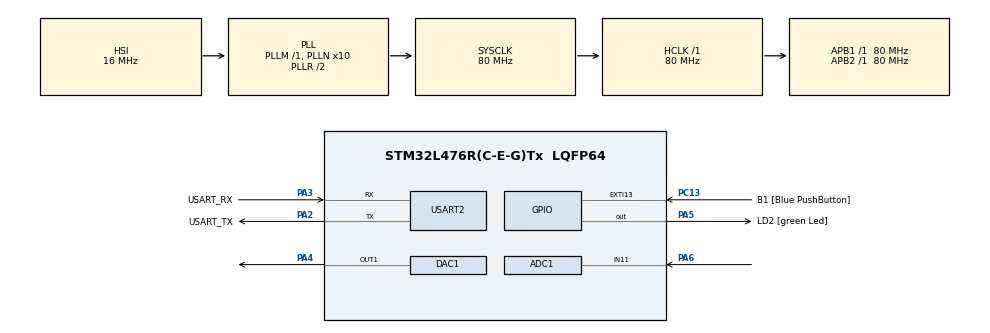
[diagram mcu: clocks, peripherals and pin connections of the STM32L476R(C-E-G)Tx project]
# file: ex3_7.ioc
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ADC1.Channel-0\#ChannelRegularConversion=ADC_CHANNEL_11
ADC1.ExternalTrigConv=ADC_EXTERNALTRIG_T6_TRGO
ADC1.NbrOfConversionFlag=1
ADC1.OffsetNumber-0\#ChannelRegularConversion=ADC_OFFSET_NONE
ADC1.Rank-0\#ChannelRegularConversion=1
ADC1.SamplingTime-0\#ChannelRegularConversion=ADC_SAMPLETIME_2CYCLES_5
ADC1.master=1
DAC1.DAC_Trigger-DAC_OUT1=DAC_TRIGGER_T7_TRGO
Dma.ADC1.0.Direction=DMA_PERIPH_TO_MEMORY
Dma.ADC1.0.Instance=DMA1_Channel1
Dma.ADC1.0.MemDataAlignment=DMA_MDATAALIGN_HALFWORD
Dma.ADC1.0.MemInc=DMA_MINC_ENABLE
Dma.ADC1.0.Mode=DMA_CIRCULAR
Dma.ADC1.0.PeriphDataAlignment=DMA_PDATAALIGN_HALFWORD
Dma.ADC1.0.PeriphInc=DMA_PINC_DISABLE
Dma.ADC1.0.Priority=DMA_PRIORITY_LOW
Dma.DAC_CH1.1.Direction=DMA_MEMORY_TO_PERIPH
Dma.DAC_CH1.1.Instance=DMA1_Channel3
Dma.DAC_CH1.1.MemDataAlignment=DMA_MDATAALIGN_HALFWORD
Dma.DAC_CH1.1.MemInc=DMA_MINC_ENABLE
Dma.DAC_CH1.1.Mode=DMA_CIRCULAR
Dma.DAC_CH1.1.PeriphDataAlignment=DMA_PDATAALIGN_HALFWORD
Dma.DAC_CH1.1.PeriphInc=DMA_PINC_DISABLE
Dma.DAC_CH1.1.Priority=DMA_PRIORITY_LOW
Dma.Request0=ADC1
Dma.Request1=DAC_CH1
Mcu.Family=STM32L4
Mcu.Name=STM32L476R(C-E-G)Tx
Mcu.Package=LQFP64
NVIC.DMA1_Channel1_IRQn=true\:0\:0\:false\:false\:true\:false\:true
NVIC.DMA1_Channel3_IRQn=true\:0\:0\:false\:false\:true\:false\:true
NVIC.PriorityGroup=NVIC_PRIORITYGROUP_4
NVIC.TIM6_DAC_IRQn=true\:0\:0\:false\:false\:true\:true\:true
NVIC.TIM7_IRQn=true\:0\:0\:false\:false\:true\:true\:true
PA13\ (JTMS-SWDIO).GPIO_Label=TMS
PA13\ (JTMS-SWDIO).Mode=Serial_Wire
PA13\ (JTMS-SWDIO).Signal=SYS_JTMS-SWDIO
PA14\ (JTCK-SWCLK).GPIO_Label=TCK
PA14\ (JTCK-SWCLK).Mode=Serial_Wire
PA14\ (JTCK-SWCLK).Signal=SYS_JTCK-SWCLK
PA2.GPIO_Label=USART_TX
PA2.GPIO_Mode=GPIO_MODE_AF_PP
PA2.GPIO_PuPd=GPIO_NOPULL
PA2.GPIO_Speed=GPIO_SPEED_FREQ_VERY_HIGH
PA2.Mode=Asynchronous
PA2.Signal=USART2_TX
PA3.GPIO_Label=USART_RX
PA3.GPIO_Mode=GPIO_MODE_AF_PP
PA3.GPIO_PuPd=GPIO_NOPULL
PA3.GPIO_Speed=GPIO_SPEED_FREQ_VERY_HIGH
PA3.Mode=Asynchronous
PA3.Signal=USART2_RX
PA4.Signal=COMP_DAC11_group
PA5.GPIO_Label=LD2 [green Led]
PA5.GPIO_ModeDefaultOutputPP=GPIO_MODE_OUTPUT_PP
PA5.GPIO_PuPd=GPIO_NOPULL
PA5.GPIO_Speed=GPIO_SPEED_FREQ_LOW
PA5.Signal=GPIO_Output
PA6.Signal=ADCx_IN11
PB3\ (JTDO-TRACESWO).GPIO_Label=SWO
PB3\ (JTDO-TRACESWO).Signal=SYS_JTDO-SWO
PC13.GPIO_Label=B1 [Blue PushButton]
PC13.GPIO_ModeDefaultEXTI=GPIO_MODE_IT_FALLING
PC13.GPIO_PuPd=GPIO_NOPULL
PC13.Signal=GPXTI13
PC14-OSC32_IN\ (PC14).Mode=LSE-External-Oscillator
PC14-OSC32_IN\ (PC14).Signal=RCC_OSC32_IN
PC15-OSC32_OUT\ (PC15).Mode=LSE-External-Oscillator
PC15-OSC32_OUT\ (PC15).Signal=RCC_OSC32_OUT
PH0-OSC_IN\ (PH0).Signal=RCC_OSC_IN
PH1-OSC_OUT\ (PH1).Signal=RCC_OSC_OUT
ProjectManager.HeapSize=0x200
ProjectManager.StackSize=0x400
ProjectManager.TargetToolchain=STM32CubeIDE
RCC.ADCFreq_Value=64000000
RCC.AHBFreq_Value=80000000
RCC.APB1Freq_Value=80000000
RCC.APB1TimFreq_Value=80000000
RCC.APB2Freq_Value=80000000
RCC.APB2TimFreq_Value=80000000
RCC.CortexFreq_Value=80000000
RCC.HCLKFreq_Value=80000000
RCC.HSE_VALUE=8000000
RCC.HSI_VALUE=16000000
RCC.MSI_VALUE=4000000
RCC.PLLN=10
RCC.PLLSourceVirtual=RCC_PLLSOURCE_HSI
RCC.PREFETCH_ENABLE=1
RCC.SYSCLKFreq_VALUE=80000000
RCC.SYSCLKSource=RCC_SYSCLKSOURCE_PLLCLK
RCC.USBFreq_Value=64000000
RCC.VCOOutputFreq_Value=160000000
SH.ADCx_IN11.0=ADC1_IN11,IN11-Single-Ended
SH.COMP_DAC11_group.0=DAC1_OUT1,DAC_OUT1
TIM6.Period=3999
TIM6.Prescaler=9999
TIM6.TIM_MasterOutputTrigger=TIM_TRGO_UPDATE
TIM7.Period=15999
TIM7.Prescaler=9999
TIM7.TIM_MasterOutputTrigger=TIM_TRGO_UPDATE
USART2.VirtualMode-Asynchronous=VM_ASYNC
VP_TIM6_VS_ClockSourceINT.Mode=Enable_Timer
VP_TIM7_VS_ClockSourceINT.Mode=Enable_Timer
board=NUCLEO-L476RG

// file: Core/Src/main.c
/* USER CODE BEGIN Header */
/**
  ******************************************************************************
  * @file           : main.c
  * @brief          : Main program body
  ******************************************************************************
  * @attention
  *
  * <h2><center>&copy; Copyright (c) 2021 STMicroelectronics.
  * All rights reserved.</center></h2>
  *
  * This software component is licensed by ST under BSD 3-Clause license,
  * the "License"; You may not use this file except in compliance with the
  * License. You may obtain a copy of the License at:
  *                        opensource.org/licenses/BSD-3-Clause
  *
  ******************************************************************************
  */
/* USER CODE END Header */
#include "main.h"

/* USER CODE BEGIN Includes */
#include <stdio.h>
/* USER CODE END Includes */

ADC_HandleTypeDef hadc1;
DMA_HandleTypeDef hdma_adc1;

DAC_HandleTypeDef hdac1;
DMA_HandleTypeDef hdma_dac_ch1;

TIM_HandleTypeDef htim6;
TIM_HandleTypeDef htim7;

UART_HandleTypeDef huart2;

/* USER CODE BEGIN PV */

volatile uint16_t adc1;
volatile uint8_t adcReady;
uint8_t dacValue[] = {0, 38, 114, 190, 228, 255};
/* USER CODE END PV */

void SystemClock_Config(void);
static void MX_GPIO_Init(void);
static void MX_DMA_Init(void);
static void MX_USART2_UART_Init(void);
static void MX_ADC1_Init(void);
static void MX_DAC1_Init(void);
static void MX_TIM6_Init(void);
static void MX_TIM7_Init(void);

/* USER CODE BEGIN 0 */
int _write(int file, char *ptr, int len) {
	HAL_UART_Transmit(&huart2, (uint8_t*)ptr, len, 50);
	return len;
}

void HAL_TIM_PeriodElapsedCallback(TIM_HandleTypeDef *htim) {
	if(htim == &htim6) {
		HAL_ADC_Start_IT(&hadc1);
	}
	else if(htim == &htim7) {
		adcReady = 1;
	}
}
/* USER CODE END 0 */

int main(void)
{

  /* MCU Configuration--------------------------------------------------------*/

  /* Reset of all peripherals, Initializes the Flash interface and the Systick. */
  HAL_Init();

  /* Configure the system clock */
  SystemClock_Config();

  /* Initialize all configured peripherals */
  MX_GPIO_Init();
  MX_DMA_Init();
  MX_USART2_UART_Init();
  MX_ADC1_Init();
  MX_DAC1_Init();
  MX_TIM6_Init();
  MX_TIM7_Init();
  /* USER CODE BEGIN 2 */
  HAL_TIM_Base_Start_IT(&htim6);
  HAL_TIM_Base_Start_IT(&htim7);
  HAL_DAC_Start_DMA(&hdac1, DAC_CHANNEL_1, (uint32_t*)dacValue, 6, DAC_ALIGN_8B_R);
  HAL_ADC_Start_DMA(&hadc1, (uint32_t*) &adc1, 1);
  /* USER CODE END 2 */

  /* Infinite loop */
  while (1)
  {
	  if(adcReady) {
		  adcReady = 0;
		  printf("ADC1: %4d -> %3d%%\r\n", adc1, ((adc1)*100)/4095);
	  }
    /* USER CODE END WHILE */

    /* USER CODE BEGIN 3 */
  }
    /* USER CODE BEGIN 3 */

  /* USER CODE END 3 */
}

void SystemClock_Config(void)
{
  RCC_OscInitTypeDef RCC_OscInitStruct = {0};
  RCC_ClkInitTypeDef RCC_ClkInitStruct = {0};
  RCC_PeriphCLKInitTypeDef PeriphClkInit = {0};

  /** Initializes the RCC Oscillators according to the specified parameters
  * in the RCC_OscInitTypeDef structure.
  */
  RCC_OscInitStruct.OscillatorType = RCC_OSCILLATORTYPE_HSI;
  RCC_OscInitStruct.HSIState = RCC_HSI_ON;
  RCC_OscInitStruct.HSICalibrationValue = RCC_HSICALIBRATION_DEFAULT;
  RCC_OscInitStruct.PLL.PLLState = RCC_PLL_ON;
  RCC_OscInitStruct.PLL.PLLSource = RCC_PLLSOURCE_HSI;
  RCC_OscInitStruct.PLL.PLLM = 1;
  RCC_OscInitStruct.PLL.PLLN = 10;
  RCC_OscInitStruct.PLL.PLLP = RCC_PLLP_DIV7;
  RCC_OscInitStruct.PLL.PLLQ = RCC_PLLQ_DIV2;
  RCC_OscInitStruct.PLL.PLLR = RCC_PLLR_DIV2;
  if (HAL_RCC_OscConfig(&RCC_OscInitStruct) != HAL_OK)
  {
    Error_Handler();
  }
  /** Initializes the CPU, AHB and APB buses clocks
  */
  RCC_ClkInitStruct.ClockType = RCC_CLOCKTYPE_HCLK|RCC_CLOCKTYPE_SYSCLK
                              |RCC_CLOCKTYPE_PCLK1|RCC_CLOCKTYPE_PCLK2;
  RCC_ClkInitStruct.SYSCLKSource = RCC_SYSCLKSOURCE_PLLCLK;
  RCC_ClkInitStruct.AHBCLKDivider = RCC_SYSCLK_DIV1;
  RCC_ClkInitStruct.APB1CLKDivider = RCC_HCLK_DIV1;
  RCC_ClkInitStruct.APB2CLKDivider = RCC_HCLK_DIV1;

  if (HAL_RCC_ClockConfig(&RCC_ClkInitStruct, FLASH_LATENCY_4) != HAL_OK)
  {
    Error_Handler();
  }
  PeriphClkInit.PeriphClockSelection = RCC_PERIPHCLK_USART2|RCC_PERIPHCLK_ADC;
  PeriphClkInit.Usart2ClockSelection = RCC_USART2CLKSOURCE_PCLK1;
  PeriphClkInit.AdcClockSelection = RCC_ADCCLKSOURCE_PLLSAI1;
  PeriphClkInit.PLLSAI1.PLLSAI1Source = RCC_PLLSOURCE_HSI;
  PeriphClkInit.PLLSAI1.PLLSAI1M = 1;
  PeriphClkInit.PLLSAI1.PLLSAI1N = 8;
  PeriphClkInit.PLLSAI1.PLLSAI1P = RCC_PLLP_DIV7;
  PeriphClkInit.PLLSAI1.PLLSAI1Q = RCC_PLLQ_DIV2;
  PeriphClkInit.PLLSAI1.PLLSAI1R = RCC_PLLR_DIV2;
  PeriphClkInit.PLLSAI1.PLLSAI1ClockOut = RCC_PLLSAI1_ADC1CLK;
  if (HAL_RCCEx_PeriphCLKConfig(&PeriphClkInit) != HAL_OK)
  {
    Error_Handler();
  }
  /** Configure the main internal regulator output voltage
  */
  if (HAL_PWREx_ControlVoltageScaling(PWR_REGULATOR_VOLTAGE_SCALE1) != HAL_OK)
  {
    Error_Handler();
  }
}

static void MX_ADC1_Init(void)
{

  ADC_MultiModeTypeDef multimode = {0};
  ADC_ChannelConfTypeDef sConfig = {0};

  /** Common config
  */
  hadc1.Instance = ADC1;
  hadc1.Init.ClockPrescaler = ADC_CLOCK_ASYNC_DIV1;
  hadc1.Init.Resolution = ADC_RESOLUTION_12B;
  hadc1.Init.DataAlign = ADC_DATAALIGN_RIGHT;
  hadc1.Init.ScanConvMode = ADC_SCAN_DISABLE;
  hadc1.Init.EOCSelection = ADC_EOC_SINGLE_CONV;
  hadc1.Init.LowPowerAutoWait = DISABLE;
  hadc1.Init.ContinuousConvMode = DISABLE;
  hadc1.Init.NbrOfConversion = 1;
  hadc1.Init.DiscontinuousConvMode = DISABLE;
  hadc1.Init.ExternalTrigConv = ADC_EXTERNALTRIG_T6_TRGO;
  hadc1.Init.ExternalTrigConvEdge = ADC_EXTERNALTRIGCONVEDGE_RISING;
  hadc1.Init.DMAContinuousRequests = DISABLE;
  hadc1.Init.Overrun = ADC_OVR_DATA_PRESERVED;
  hadc1.Init.OversamplingMode = DISABLE;
  if (HAL_ADC_Init(&hadc1) != HAL_OK)
  {
    Error_Handler();
  }
  /** Configure the ADC multi-mode
  */
  multimode.Mode = ADC_MODE_INDEPENDENT;
  if (HAL_ADCEx_MultiModeConfigChannel(&hadc1, &multimode) != HAL_OK)
  {
    Error_Handler();
  }
  /** Configure Regular Channel
  */
  sConfig.Channel = ADC_CHANNEL_11;
  sConfig.Rank = ADC_REGULAR_RANK_1;
  sConfig.SamplingTime = ADC_SAMPLETIME_2CYCLES_5;
  sConfig.SingleDiff = ADC_SINGLE_ENDED;
  sConfig.OffsetNumber = ADC_OFFSET_NONE;
  sConfig.Offset = 0;
  if (HAL_ADC_ConfigChannel(&hadc1, &sConfig) != HAL_OK)
  {
    Error_Handler();
  }

}

static void MX_DAC1_Init(void)
{

  DAC_ChannelConfTypeDef sConfig = {0};

  /** DAC Initialization
  */
  hdac1.Instance = DAC1;
  if (HAL_DAC_Init(&hdac1) != HAL_OK)
  {
    Error_Handler();
  }
  /** DAC channel OUT1 config
  */
  sConfig.DAC_SampleAndHold = DAC_SAMPLEANDHOLD_DISABLE;
  sConfig.DAC_Trigger = DAC_TRIGGER_T7_TRGO;
  sConfig.DAC_OutputBuffer = DAC_OUTPUTBUFFER_ENABLE;
  sConfig.DAC_ConnectOnChipPeripheral = DAC_CHIPCONNECT_DISABLE;
  sConfig.DAC_UserTrimming = DAC_TRIMMING_FACTORY;
  if (HAL_DAC_ConfigChannel(&hdac1, &sConfig, DAC_CHANNEL_1) != HAL_OK)
  {
    Error_Handler();
  }

}

static void MX_TIM6_Init(void)
{

  TIM_MasterConfigTypeDef sMasterConfig = {0};

  htim6.Instance = TIM6;
  htim6.Init.Prescaler = 9999;
  htim6.Init.CounterMode = TIM_COUNTERMODE_UP;
  htim6.Init.Period = 3999;
  htim6.Init.AutoReloadPreload = TIM_AUTORELOAD_PRELOAD_DISABLE;
  if (HAL_TIM_Base_Init(&htim6) != HAL_OK)
  {
    Error_Handler();
  }
  sMasterConfig.MasterOutputTrigger = TIM_TRGO_UPDATE;
  sMasterConfig.MasterSlaveMode = TIM_MASTERSLAVEMODE_DISABLE;
  if (HAL_TIMEx_MasterConfigSynchronization(&htim6, &sMasterConfig) != HAL_OK)
  {
    Error_Handler();
  }

}

static void MX_TIM7_Init(void)
{

  TIM_MasterConfigTypeDef sMasterConfig = {0};

  htim7.Instance = TIM7;
  htim7.Init.Prescaler = 9999;
  htim7.Init.CounterMode = TIM_COUNTERMODE_UP;
  htim7.Init.Period = 15999;
  htim7.Init.AutoReloadPreload = TIM_AUTORELOAD_PRELOAD_DISABLE;
  if (HAL_TIM_Base_Init(&htim7) != HAL_OK)
  {
    Error_Handler();
  }
  sMasterConfig.MasterOutputTrigger = TIM_TRGO_UPDATE;
  sMasterConfig.MasterSlaveMode = TIM_MASTERSLAVEMODE_DISABLE;
  if (HAL_TIMEx_MasterConfigSynchronization(&htim7, &sMasterConfig) != HAL_OK)
  {
    Error_Handler();
  }

}

static void MX_USART2_UART_Init(void)
{

  huart2.Instance = USART2;
  huart2.Init.BaudRate = 115200;
  huart2.Init.WordLength = UART_WORDLENGTH_8B;
  huart2.Init.StopBits = UART_STOPBITS_1;
  huart2.Init.Parity = UART_PARITY_NONE;
  huart2.Init.Mode = UART_MODE_TX_RX;
  huart2.Init.HwFlowCtl = UART_HWCONTROL_NONE;
  huart2.Init.OverSampling = UART_OVERSAMPLING_16;
  huart2.Init.OneBitSampling = UART_ONE_BIT_SAMPLE_DISABLE;
  huart2.AdvancedInit.AdvFeatureInit = UART_ADVFEATURE_NO_INIT;
  if (HAL_UART_Init(&huart2) != HAL_OK)
  {
    Error_Handler();
  }

}

static void MX_DMA_Init(void)
{

  /* DMA controller clock enable */
  __HAL_RCC_DMA1_CLK_ENABLE();

  /* DMA interrupt init */
  /* DMA1_Channel1_IRQn interrupt configuration */
  HAL_NVIC_SetPriority(DMA1_Channel1_IRQn, 0, 0);
  HAL_NVIC_EnableIRQ(DMA1_Channel1_IRQn);
  /* DMA1_Channel3_IRQn interrupt configuration */
  HAL_NVIC_SetPriority(DMA1_Channel3_IRQn, 0, 0);
  HAL_NVIC_EnableIRQ(DMA1_Channel3_IRQn);

}

static void MX_GPIO_Init(void)
{
  GPIO_InitTypeDef GPIO_InitStruct = {0};

  /* GPIO Ports Clock Enable */
  __HAL_RCC_GPIOC_CLK_ENABLE();
  __HAL_RCC_GPIOH_CLK_ENABLE();
  __HAL_RCC_GPIOA_CLK_ENABLE();
  __HAL_RCC_GPIOB_CLK_ENABLE();

  /*Configure GPIO pin Output Level */
  HAL_GPIO_WritePin(LD2_GPIO_Port, LD2_Pin, GPIO_PIN_RESET);

  /*Configure GPIO pin : B1_Pin */
  GPIO_InitStruct.Pin = B1_Pin;
  GPIO_InitStruct.Mode = GPIO_MODE_IT_FALLING;
  GPIO_InitStruct.Pull = GPIO_NOPULL;
  HAL_GPIO_Init(B1_GPIO_Port, &GPIO_InitStruct);

  /*Configure GPIO pin : LD2_Pin */
  GPIO_InitStruct.Pin = LD2_Pin;
  GPIO_InitStruct.Mode = GPIO_MODE_OUTPUT_PP;
  GPIO_InitStruct.Pull = GPIO_NOPULL;
  GPIO_InitStruct.Speed = GPIO_SPEED_FREQ_LOW;
  HAL_GPIO_Init(LD2_GPIO_Port, &GPIO_InitStruct);

}

void Error_Handler(void)
{
}

/************************ (C) COPYRIGHT STMicroelectronics *****END OF FILE****/
